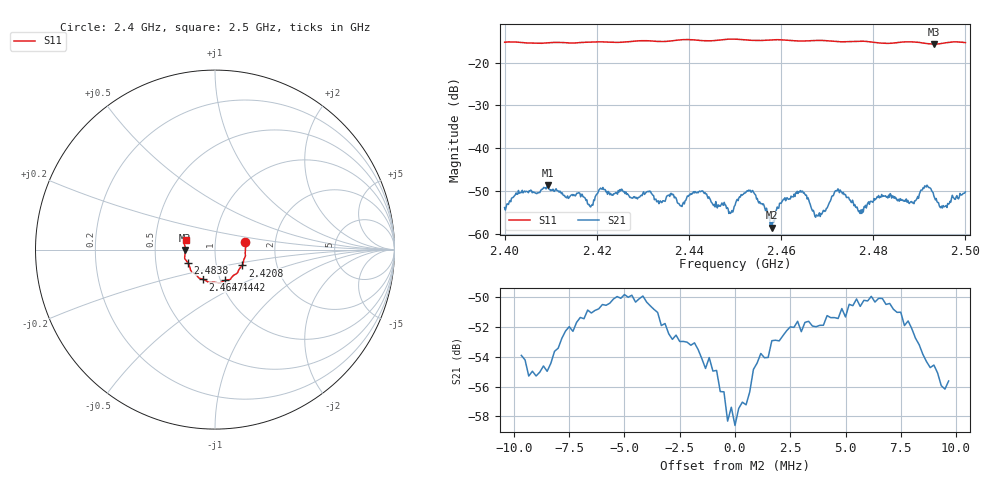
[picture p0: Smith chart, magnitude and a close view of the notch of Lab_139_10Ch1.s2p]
# Hz S RI R 50
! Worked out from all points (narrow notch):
!   601 points, 2.4 GHz to 2.5 GHz, reference 50 ohm
!   highest |S21| = -48.65 dB at 2.4093 GHz (marker M1); lowest = -58.6 dB at 2.458 GHz (marker M2)
!   notch at M2: 7.2 dB deep, 1.63 MHz wide at half that depth
!   lowest |S11| = -15.6 dB at 2.4932 GHz (marker M3), VSWR 1.40, Z = 35.8 - j0.101 ohm
!   |S11| at or under -10 dB: start of sweep to end of sweep
!   S12 and S22 are empty: the file has one direction only
!   S11 on the Smith chart (normalised r, x): 2.4 GHz: 1.40, +0.12; 2.4208 GHz: 1.33, -0.24; 2.4442 GHz: 1.05, -0.37; 2.4647 GHz: 0.83, -0.29; 2.4838 GHz: 0.73, -0.11; 2.5 GHz: 0.72, +0.08
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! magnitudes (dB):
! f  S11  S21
! 2.4 GHz  -15.2  -53.9
! 2.4093 GHz  -15.3  -48.7
! 2.4167 GHz  -15.3  -50.8
! 2.4187 GHz  -15.2  -53.8
! 2.4208 GHz  -15.1  -49.4
! 2.4333 GHz  -15.0  -52.3
! 2.4442 GHz  -14.9  -51.8
! 2.45 GHz  -14.5  -53.4
! 2.4535 GHz  -14.8  -50.3
! 2.458 GHz  -14.7  -58.6
! 2.4603 GHz  -14.7  -52.3
! 2.4647 GHz  -14.9  -50.1
! 2.4667 GHz  -14.8  -54.3
! 2.4685 GHz  -14.8  -56.0
! 2.4723 GHz  -15.1  -49.5
! 2.4773 GHz  -15.0  -54.5
! 2.4833 GHz  -15.5  -51.0
! 2.4838 GHz  -15.4  -50.9
! 2.4917 GHz  -15.5  -48.7
! 2.4932 GHz  -15.6  -51.2
! 2.495 GHz  -15.5  -54.0
! 2.5 GHz  -15.3  -50.3
